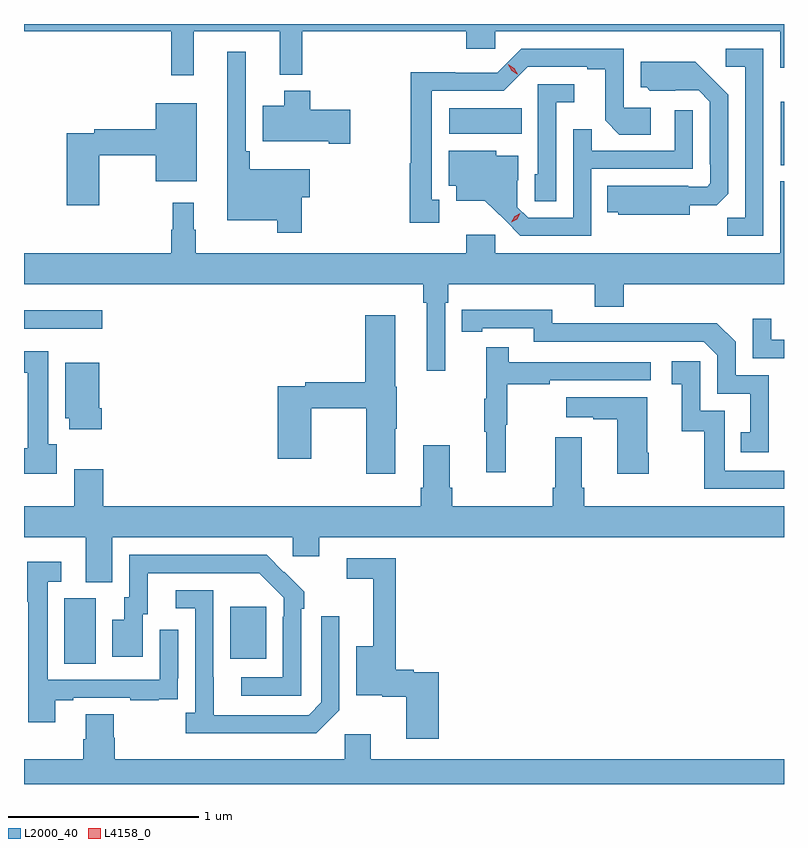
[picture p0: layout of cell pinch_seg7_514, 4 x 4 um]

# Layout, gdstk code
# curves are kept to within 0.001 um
import gdstk
lib = gdstk.Library(unit=1e-6, precision=1e-09)
def R(c, l, rs):  # rectangles x0, y0, x1, y1
    for r in rs: c.add(gdstk.rectangle(r[:2], r[2:], *l))
def P(c, l, *ps):  # polygons
    for p in ps: c.add(gdstk.Polygon(p, *l))
L2000_40 = (2000, 40)
L4158_0 = (4158, 0)

pinch_seg7_514 = lib.new_cell('pinch_seg7_514')
R(pinch_seg7_514, L2000_40, [(169.982,1058.56,170.146,1058.904), (170.855,1058.585,171.043,1058.86), (169.769,1060.323,170.182,1060.42), (173.753,1061.183,173.769,1061.518), (172.008,1061.348,172.388,1061.482)])
P(pinch_seg7_514, L2000_40, [(169.769,1061.888),(170.545,1061.888),(170.545,1061.655),(170.663,1061.655),(170.663,1061.888),(171.116,1061.888),(171.116,1061.66),(171.233,1061.66),(171.233,1061.888),(172.097,1061.888),(172.097,1061.795),(172.248,1061.795),(172.248,1061.888),(173.75,1061.888),(173.75,1061.696),(173.769,1061.696),(173.769,1061.926),(169.769,1061.926)],
  [(173.661,1061.796),(173.463,1061.796),(173.463,1061.7),(173.565,1061.7),(173.565,1060.907),(173.47,1060.907),(173.47,1060.812),(173.661,1060.812)],
  [(171.955,1061.001),(171.916,1061.001),(171.916,1061.574),(172.293,1061.574),(172.419,1061.7),(172.733,1061.7),(172.733,1061.688),(172.827,1061.688),(172.827,1061.42),(172.903,1061.344),(173.068,1061.344),(173.068,1061.484),(172.926,1061.484),(172.926,1061.796),(172.386,1061.796),(172.26,1061.67),(172.038,1061.67),(172.038,1061.672),(171.805,1061.672),(171.805,1061.193),(171.798,1061.193),(171.798,1060.881),(171.955,1060.881)],
  [(171.23,1061.014),(171.274,1061.014),(171.274,1061.161),(170.957,1061.161),(170.957,1061.257),(170.937,1061.257),(170.937,1061.779),(170.84,1061.779),(170.84,1060.892),(171.102,1060.892),(171.102,1060.827),(171.23,1060.827)],
  [(173.272,1060.973),(173.416,1060.973),(173.475,1061.032),(173.475,1061.554),(173.303,1061.728),(173.015,1061.728),(173.015,1061.592),(173.046,1061.592),(173.062,1061.576),(173.319,1061.577),(173.379,1061.517),(173.379,1061.188),(173.382,1061.188),(173.382,1061.088),(173.364,1061.07),(173.264,1061.07),(173.264,1061.074),(172.84,1061.074),(172.84,1060.934),(172.896,1060.934),(172.896,1060.922),(173.272,1060.922)],
  [(172.569,1061.513),(172.666,1061.513),(172.666,1061.61),(172.473,1061.61),(172.473,1061.136),(172.458,1061.136),(172.458,1060.993),(172.569,1060.993)],
  [(171.487,1061.475),(171.275,1061.475),(171.275,1061.575),(171.14,1061.575),(171.14,1061.497),(171.026,1061.497),(171.026,1061.309),(171.374,1061.309),(171.374,1061.297),(171.487,1061.297)],
  [(170.164,1061.236),(170.462,1061.236),(170.462,1061.099),(170.677,1061.099),(170.677,1061.509),(170.462,1061.509),(170.462,1061.372),(170.14,1061.372),(170.14,1061.352),(169.994,1061.352),(169.994,1060.971),(170.164,1060.971)],
  [(172.755,1061.163),(173.289,1061.163),(173.289,1061.473),(173.193,1061.473),(173.193,1061.259),(172.757,1061.259),(172.757,1061.372),(172.659,1061.372),(172.659,1060.905),(172.422,1060.905),(172.365,1060.962),(172.365,1061.104),(172.369,1061.104),(172.369,1061.233),(172.254,1061.233),(172.254,1061.26),(172.004,1061.26),(172.004,1061.076),(172.043,1061.076),(172.043,1060.997),(172.195,1060.997),(172.382,1060.812),(172.755,1060.812)],
  [(171.987,1060.46),(172.001,1060.46),(172.001,1060.556),(172.772,1060.556),(172.772,1060.439),(172.925,1060.439),(172.925,1060.556),(173.769,1060.556),(173.769,1061.098),(173.75,1061.098),(173.75,1060.72),(172.248,1060.72),(172.248,1060.816),(172.097,1060.816),(172.097,1060.72),(170.674,1060.72),(170.674,1060.844),(170.662,1060.844),(170.662,1060.984),(170.553,1060.984),(170.553,1060.844),(170.545,1060.844),(170.545,1060.72),(169.769,1060.72),(169.769,1060.556),(171.871,1060.556),(171.871,1060.46),(171.89,1060.46),(171.89,1060.101),(171.987,1060.101)],
  [(173.688,1060.077),(173.514,1060.077),(173.514,1060.254),(173.416,1060.352),(173.008,1060.352),(173.008,1060.35),(172.548,1060.35),(172.548,1060.423),(172.072,1060.422),(172.072,1060.306),(172.18,1060.306),(172.18,1060.326),(172.452,1060.326),(172.452,1060.254),(173.346,1060.254),(173.418,1060.182),(173.418,1059.981),(173.591,1059.981),(173.591,1059.777),(173.542,1059.777),(173.542,1059.672),(173.688,1059.672)],
  [(171.724,1059.796),(171.732,1059.796),(171.732,1060.017),(171.724,1060.017),(171.724,1060.393),(171.566,1060.393),(171.566,1060.04),(171.25,1060.04),(171.25,1060.02),(171.104,1060.02),(171.104,1059.639),(171.282,1059.639),(171.282,1059.904),(171.571,1059.904),(171.571,1059.558),(171.724,1059.558)],
  [(173.769,1060.263),(173.701,1060.263),(173.701,1060.375),(173.604,1060.375),(173.604,1060.167),(173.769,1060.167)],
  [(172.304,1059.816),(172.312,1059.816),(172.312,1060.03),(172.535,1060.03),(172.535,1060.05),(173.068,1060.05),(173.068,1060.146),(172.319,1060.146),(172.319,1060.225),(172.202,1060.225),(172.202,1059.953),(172.191,1059.953),(172.191,1059.779),(172.202,1059.779),(172.202,1059.567),(172.304,1059.567)],
  [(169.942,1059.714),(169.897,1059.714),(169.897,1060.204),(169.769,1060.204),(169.769,1060.091),(169.79,1060.091),(169.79,1059.694),(169.769,1059.694),(169.769,1059.56),(169.942,1059.56)],
  [(173.769,1059.576),(173.457,1059.576),(173.457,1059.891),(173.328,1059.891),(173.328,1060.15),(173.178,1060.15),(173.178,1060.029),(173.231,1060.029),(173.231,1059.783),(173.349,1059.783),(173.349,1059.48),(173.769,1059.48)],
  [(170.177,1059.904),(170.164,1059.904),(170.164,1060.144),(169.985,1060.144),(169.985,1059.852),(170.006,1059.852),(170.006,1059.792),(170.177,1059.792)],
  [(173.058,1059.67),(173.05,1059.67),(173.05,1059.961),(172.623,1059.961),(172.623,1059.857),(172.766,1059.857),(172.766,1059.847),(172.892,1059.847),(172.892,1059.558),(173.058,1059.558)],
  [(170.093,1058.989),(170.233,1058.989),(170.233,1059.224),(171.183,1059.224),(171.183,1059.126),(171.322,1059.126),(171.322,1059.224),(173.769,1059.224),(173.769,1059.388),(172.718,1059.388),(172.718,1059.484),(172.705,1059.484),(172.705,1059.751),(172.565,1059.751),(172.565,1059.484),(172.553,1059.484),(172.553,1059.388),(172.022,1059.388),(172.022,1059.484),(172.009,1059.484),(172.009,1059.709),(171.869,1059.709),(171.869,1059.484),(171.857,1059.484),(171.857,1059.388),(170.186,1059.388),(170.186,1059.583),(170.033,1059.583),(170.033,1059.388),(169.769,1059.388),(169.769,1059.224),(170.093,1059.224)],
  [(171.228,1058.849),(171.243,1058.849),(171.243,1058.937),(171.046,1059.132),(170.322,1059.132),(170.322,1058.91),(170.297,1058.91),(170.297,1058.791),(170.234,1058.791),(170.234,1058.595),(170.395,1058.595),(170.395,1058.82),(170.419,1058.82),(170.419,1059.036),(171.007,1059.036),(171.135,1058.907),(171.135,1058.807),(171.132,1058.807),(171.132,1058.487),(170.913,1058.487),(170.913,1058.391),(171.228,1058.391)],
  [(171.953,1058.515),(171.819,1058.515),(171.819,1058.528),(171.725,1058.528),(171.725,1059.114),(171.468,1059.114),(171.468,1059.006),(171.608,1059.006),(171.608,1058.65),(171.518,1058.65),(171.518,1058.393),(171.654,1058.393),(171.654,1058.386),(171.782,1058.386),(171.782,1058.163),(171.953,1058.163)],
  [(169.933,1058.367),(170.029,1058.367),(170.029,1058.379),(170.329,1058.379),(170.329,1058.367),(170.477,1058.367),(170.477,1058.373),(170.579,1058.373),(170.579,1058.482),(170.58,1058.482),(170.58,1058.737),(170.484,1058.737),(170.484,1058.475),(169.893,1058.475),(169.893,1058.991),(169.966,1058.991),(169.966,1059.097),(169.785,1059.097),(169.785,1058.884),(169.792,1058.884),(169.792,1058.25),(169.933,1058.25)],
  [(171.429,1058.313),(171.429,1058.809),(171.333,1058.809),(171.333,1058.355),(171.267,1058.289),(170.767,1058.289),(170.766,1058.946),(170.568,1058.946),(170.568,1058.85),(170.67,1058.85),(170.67,1058.302),(170.619,1058.302),(170.619,1058.192),(171.308,1058.192)],
  [(173.769,1058.056),(171.595,1058.056),(171.595,1058.188),(171.456,1058.188),(171.456,1058.056),(170.246,1058.056),(170.246,1058.169),(170.241,1058.169),(170.241,1058.294),(170.093,1058.294),(170.093,1058.162),(170.081,1058.162),(170.081,1058.056),(169.769,1058.056),(169.769,1057.926),(173.769,1057.926)])
P(pinch_seg7_514, L4158_0, [(172.334,1060.883),(172.334,1060.883),(172.351,1060.913),(172.381,1060.929),(172.382,1060.929),(172.382,1060.929),(172.365,1060.899),(172.334,1060.883)],
  [(172.366,1061.661),(172.335,1061.68),(172.317,1061.712),(172.317,1061.713),(172.317,1061.713),(172.349,1061.694),(172.367,1061.661),(172.367,1061.661)])

lib.write_gds('pinch_seg7_514.gds')
